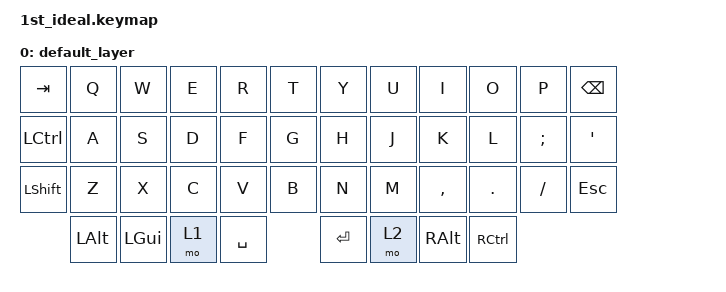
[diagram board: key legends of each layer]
/*
 * Copyright (c) 2020 The ZMK Contributors
 *
 * SPDX-License-Identifier: MIT
 */

#include <behaviors.dtsi>
#include <dt-bindings/zmk/keys.h>
#include <dt-bindings/zmk/bt.h>

/ {
        keymap {
                compatible = "zmk,keymap";

                default_layer {
// -----------------------------------------------------------------------------------------
// |  TAB |  Q  |  W  |  E  |  R  |  T  |   |  Y  |  U   |  I  |  O  |  P  | BSPC |
// | CTRL |  A  |  S  |  D  |  F  |  G  |   |  H  |  J   |  K  |  L  |  ;  |  '   |
// | SHFT |  Z  |  X  |  C  |  V  |  B  |   |  N  |  M   |  ,  |  .  |  /  | ESC  |
//              | LCT | GUI | LWR | SPC |   | ENT | RSE  | ALT | RCT |
                        bindings = <
   &kp TAB   &kp Q &kp W &kp E &kp R &kp T   &kp Y &kp U  &kp I     &kp O   &kp P    &kp BSPC
   &kp LCTRL &kp A &kp S &kp D &kp F &kp G   &kp H &kp J  &kp K     &kp L   &kp SEMI &kp SQT
   &kp LSHFT &kp Z &kp X &kp C &kp V &kp B   &kp N &kp M  &kp COMMA &kp DOT &kp FSLH &kp ESC
          &kp LALT &kp LGUI &mo 1 &kp SPACE   &kp RET &mo 2 &kp RALT &kp RCTRL
                        >;
                };
        };
};
